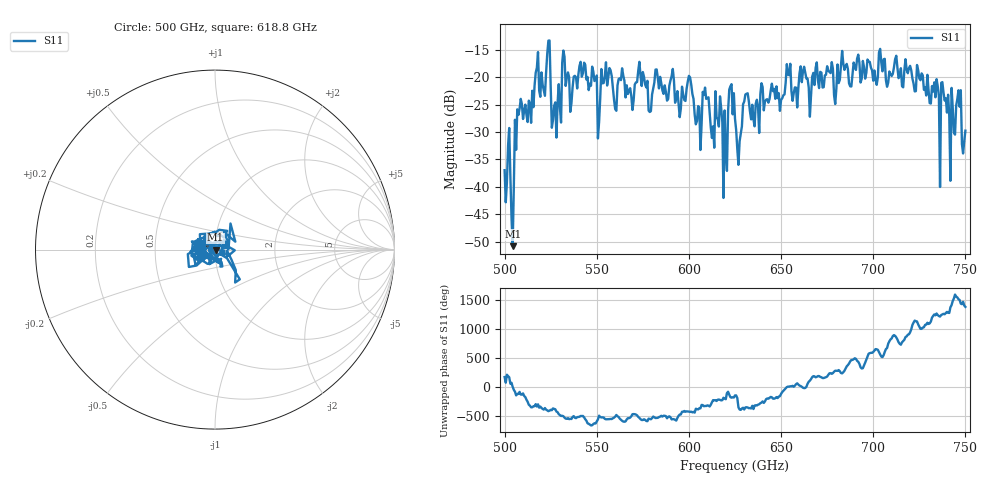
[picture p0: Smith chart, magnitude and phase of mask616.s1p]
!Created with skrf (http://scikit-rf.org).
# GHz S MA R 50.0
!freq magS11 angS11
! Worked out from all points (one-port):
!   401 points, 500 GHz to 750 GHz, reference 50 ohm
!   lowest |S11| = -50.8 dB at 504.4 GHz (marker M1), VSWR 1.01, Z = 50.3 + j0.00867 ohm
!   |S11| at or under -10 dB: start of sweep to end of sweep
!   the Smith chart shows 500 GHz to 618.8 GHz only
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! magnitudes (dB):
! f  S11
! 500 GHz  -37.0
! 504.4 GHz  -50.8
! 508.1 GHz  -25.8
! 523.8 GHz  -13.4
! 526.9 GHz  -25.3
! 531.2 GHz  -17.3
! 548.8 GHz  -20.7
! 550.6 GHz  -31.2
! 562.5 GHz  -20.2
! 593.8 GHz  -22.6
! 600 GHz  -19.8
! 605.6 GHz  -25.5
! 609.4 GHz  -24.0
! 612.5 GHz  -31.1
! 616.9 GHz  -23.5
! 619.4 GHz  -26.1
! 623.1 GHz  -21.3
! 625 GHz  -27.6
! 626.9 GHz  -36.0
! 630.6 GHz  -23.2
! 656.2 GHz  -24.3
! 687.5 GHz  -21.7
! 718.8 GHz  -19.3
! 735 GHz  -21.7
! 738.1 GHz  -22.8
! 743.1 GHz  -25.5
! 746.2 GHz  -22.4
! 750 GHz  -29.8
